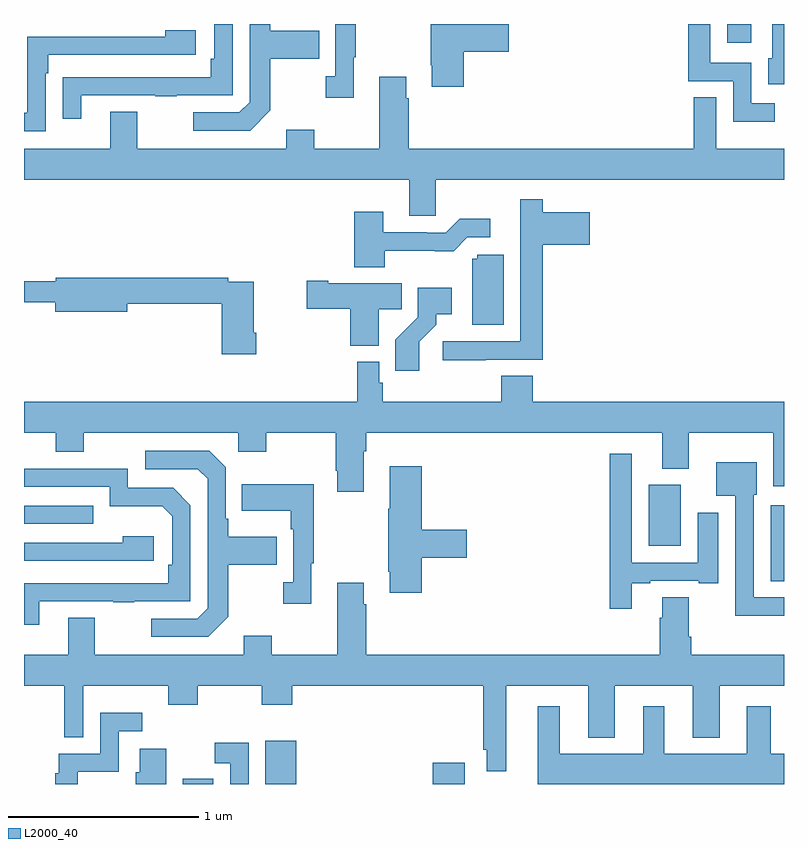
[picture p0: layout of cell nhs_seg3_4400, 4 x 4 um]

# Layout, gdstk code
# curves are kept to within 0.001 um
import gdstk
lib = gdstk.Library(unit=1e-6, precision=1e-09)
def R(c, l, rs):  # rectangles x0, y0, x1, y1
    for r in rs: c.add(gdstk.rectangle(r[:2], r[2:], *l))
def P(c, l, *ps):  # polygons
    for p in ps: c.add(gdstk.Polygon(p, *l))
L2000_40 = (2000, 40)

nhs_seg3_4400 = lib.new_cell('nhs_seg3_4400')
R(nhs_seg3_4400, L2000_40, [(345.836,700.4,345.997,700.428), (346.271,700.4,346.432,700.627), (347.15,700.4,347.32,700.513), (348.929,701.467,349,701.866), (348.287,701.654,348.457,701.974), (345,701.769,345.365,701.865), (348.701,704.301,348.828,704.4)])
P(nhs_seg3_4400, L2000_40, [(348.952,703.983),(348.828,703.983),(348.828,704.196),(348.613,704.196),(348.613,704.4),(348.495,704.4),(348.495,704.1),(348.732,704.1),(348.732,703.886),(348.952,703.886)],
  [(347.315,704.255),(347.551,704.255),(347.551,704.4),(347.14,704.4),(347.14,704.182),(347.147,704.182),(347.147,704.07),(347.315,704.07)],
  [(349,704.4),(348.938,704.4),(348.938,704.22),(348.917,704.22),(348.917,704.084),(349,704.084)],
  [(346.297,703.945),(346.297,704.218),(346.553,704.218),(346.553,704.365),(346.297,704.365),(346.297,704.4),(346.188,704.4),(346.188,703.989),(346.134,703.935),(345.891,703.935),(345.891,703.839),(346.191,703.839)],
  [(346.735,704.225),(346.747,704.225),(346.747,704.4),(346.638,704.4),(346.638,704.126),(346.587,704.126),(346.587,704.013),(346.735,704.013)],
  [(345.301,704.025),(345.691,704.025),(345.691,704.02),(345.803,704.02),(345.803,704.025),(346.098,704.025),(346.098,704.4),(346.002,704.4),(346.002,704.218),(345.982,704.218),(345.982,704.121),(345.307,704.121),(345.307,704.12),(345.205,704.12),(345.205,703.902),(345.301,703.902)],
  [(345.114,704.141),(345.127,704.141),(345.127,704.238),(345.904,704.238),(345.904,704.368),(345.743,704.368),(345.743,704.334),(345.018,704.334),(345.018,703.932),(345,703.932),(345,703.836),(345.114,703.836)],
  [(347.166,703.58),(349,703.58),(349,703.744),(348.643,703.744),(348.643,704.015),(348.525,704.015),(348.525,703.744),(347.024,703.744),(347.024,704.009),(347.011,704.009),(347.011,704.122),(346.871,704.122),(346.871,703.744),(346.527,703.744),(346.527,703.843),(346.379,703.843),(346.379,703.744),(345.595,703.744),(345.595,703.939),(345.455,703.939),(345.455,703.744),(345,703.744),(345,703.58),(347.027,703.58),(347.027,703.39),(347.166,703.39)],
  [(347.429,702.633),(347.729,702.633),(347.729,703.238),(347.977,703.238),(347.977,703.408),(347.729,703.408),(347.729,703.477),(347.612,703.477),(347.612,703.254),(347.613,703.254),(347.613,702.729),(347.205,702.729),(347.205,702.631),(347.429,702.631)],
  [(346.899,703.206),(347.261,703.205),(347.334,703.278),(347.455,703.278),(347.455,703.375),(347.293,703.375),(347.22,703.302),(347.12,703.302),(347.12,703.305),(346.891,703.305),(346.891,703.411),(346.739,703.411),(346.739,703.121),(346.899,703.121)],
  [(347.524,703.185),(347.385,703.185),(347.385,703.164),(347.36,703.164),(347.36,702.816),(347.524,702.816)],
  [(346.223,702.775),(346.21,702.775),(346.21,703.044),(346.076,703.044),(346.076,703.064),(345.168,703.064),(345.168,703.045),(345,703.045),(345,702.936),(345.164,702.936),(345.164,702.886),(345.544,702.886),(345.544,702.928),(346.04,702.928),(346.04,702.663),(346.223,702.663)],
  [(346.867,702.898),(346.988,702.898),(346.988,703.036),(346.6,703.036),(346.6,703.049),(346.488,703.049),(346.488,702.902),(346.718,702.902),(346.718,702.707),(346.867,702.707)],
  [(347.08,702.727),(347.17,702.817),(347.17,702.872),(347.251,702.872),(347.251,703.012),(347.073,703.012),(347.073,702.857),(346.954,702.738),(346.954,702.576),(347.08,702.576)],
  [(346.789,702.152),(346.802,702.152),(346.802,702.248),(348.359,702.248),(348.359,702.059),(348.499,702.059),(348.499,702.248),(348.944,702.248),(348.944,701.967),(349,701.967),(349,702.412),(347.678,702.412),(347.678,702.548),(347.513,702.548),(347.513,702.412),(346.889,702.412),(346.889,702.513),(346.869,702.513),(346.869,702.622),(346.753,702.622),(346.753,702.412),(345,702.412),(345,702.248),(345.167,702.248),(345.167,702.149),(345.315,702.149),(345.315,702.248),(346.128,702.248),(346.128,702.149),(346.275,702.149),(346.275,702.248),(346.642,702.248),(346.642,702.049),(346.649,702.049),(346.649,701.937),(346.789,701.937)],
  [(346.075,701.281),(346.075,701.554),(346.331,701.554),(346.331,701.701),(346.075,701.701),(346.075,701.797),(346.062,701.797),(346.062,702.066),(345.975,702.153),(345.639,702.153),(345.639,702.057),(345.915,702.057),(345.966,702.006),(345.966,701.325),(345.912,701.271),(345.669,701.271),(345.669,701.175),(345.969,701.175)],
  [(348.199,701.457),(348.295,701.457),(348.295,701.469),(348.551,701.469),(348.551,701.457),(348.655,701.457),(348.655,701.827),(348.545,701.827),(348.545,701.565),(348.198,701.565),(348.198,702.139),(348.082,702.139),(348.082,701.322),(348.199,701.322)],
  [(349,701.382),(348.84,701.382),(348.84,701.922),(348.856,701.922),(348.856,702.094),(348.644,702.094),(348.644,701.918),(348.744,701.918),(348.744,701.285),(349,701.285)],
  [(347.093,701.591),(347.329,701.591),(347.329,701.738),(347.093,701.738),(347.093,702.073),(346.925,702.073),(346.925,701.849),(346.918,701.849),(346.918,701.518),(346.925,701.518),(346.925,701.406),(347.093,701.406)],
  [(345.079,701.361),(345.469,701.361),(345.469,701.356),(345.581,701.356),(345.581,701.361),(345.876,701.361),(345.876,701.868),(345.786,701.958),(345.546,701.958),(345.546,702.06),(345,702.06),(345,701.964),(345.45,701.964),(345.45,701.861),(345.727,701.861),(345.78,701.808),(345.78,701.554),(345.76,701.554),(345.76,701.457),(345,701.456),(345,701.238),(345.079,701.238)],
  [(346.513,701.561),(346.525,701.561),(346.525,701.977),(346.147,701.977),(346.147,701.837),(346.404,701.837),(346.404,701.741),(346.416,701.741),(346.416,701.462),(346.365,701.462),(346.365,701.349),(346.513,701.349)],
  [(345.682,701.704),(345.521,701.704),(345.521,701.67),(345,701.67),(345,701.574),(345.682,701.574)],
  [(347.539,700.916),(347.969,700.916),(347.969,700.643),(348.109,700.643),(348.109,700.916),(348.521,700.916),(348.521,700.643),(348.661,700.643),(348.661,700.916),(349,700.916),(349,701.08),(348.512,701.08),(348.512,701.176),(348.499,701.176),(348.499,701.384),(348.359,701.384),(348.359,701.276),(348.347,701.276),(348.347,701.08),(346.802,701.08),(346.802,701.345),(346.789,701.345),(346.789,701.458),(346.649,701.458),(346.649,701.08),(346.305,701.08),(346.305,701.179),(346.157,701.179),(346.157,701.08),(345.373,701.08),(345.373,701.275),(345.233,701.275),(345.233,701.08),(345,701.08),(345,700.916),(345.212,700.916),(345.212,700.645),(345.313,700.645),(345.313,700.916),(345.76,700.916),(345.76,700.817),(345.915,700.817),(345.915,700.916),(346.252,700.916),(346.252,700.817),(346.412,700.817),(346.412,700.916),(347.418,700.916),(347.418,700.579),(347.435,700.579),(347.435,700.467),(347.539,700.467)],
  [(349,700.558),(348.931,700.558),(348.931,700.81),(348.803,700.81),(348.803,700.558),(348.37,700.558),(348.37,700.81),(348.26,700.81),(348.26,700.558),(347.821,700.558),(347.821,700.81),(347.705,700.81),(347.705,700.4),(349,700.4)],
  [(345.283,700.464),(345.498,700.464),(345.498,700.677),(345.622,700.677),(345.622,700.774),(345.402,700.774),(345.402,700.56),(345.182,700.56),(345.182,700.457),(345.165,700.457),(345.165,700.4),(345.283,700.4)],
  [(346.182,700.618),(346.005,700.618),(346.005,700.509),(346.086,700.509),(346.086,700.4),(346.182,700.4)],
  [(345.748,700.585),(345.608,700.585),(345.608,700.461),(345.587,700.461),(345.587,700.4),(345.748,700.4)])

lib.write_gds('nhs_seg3_4400.gds')
